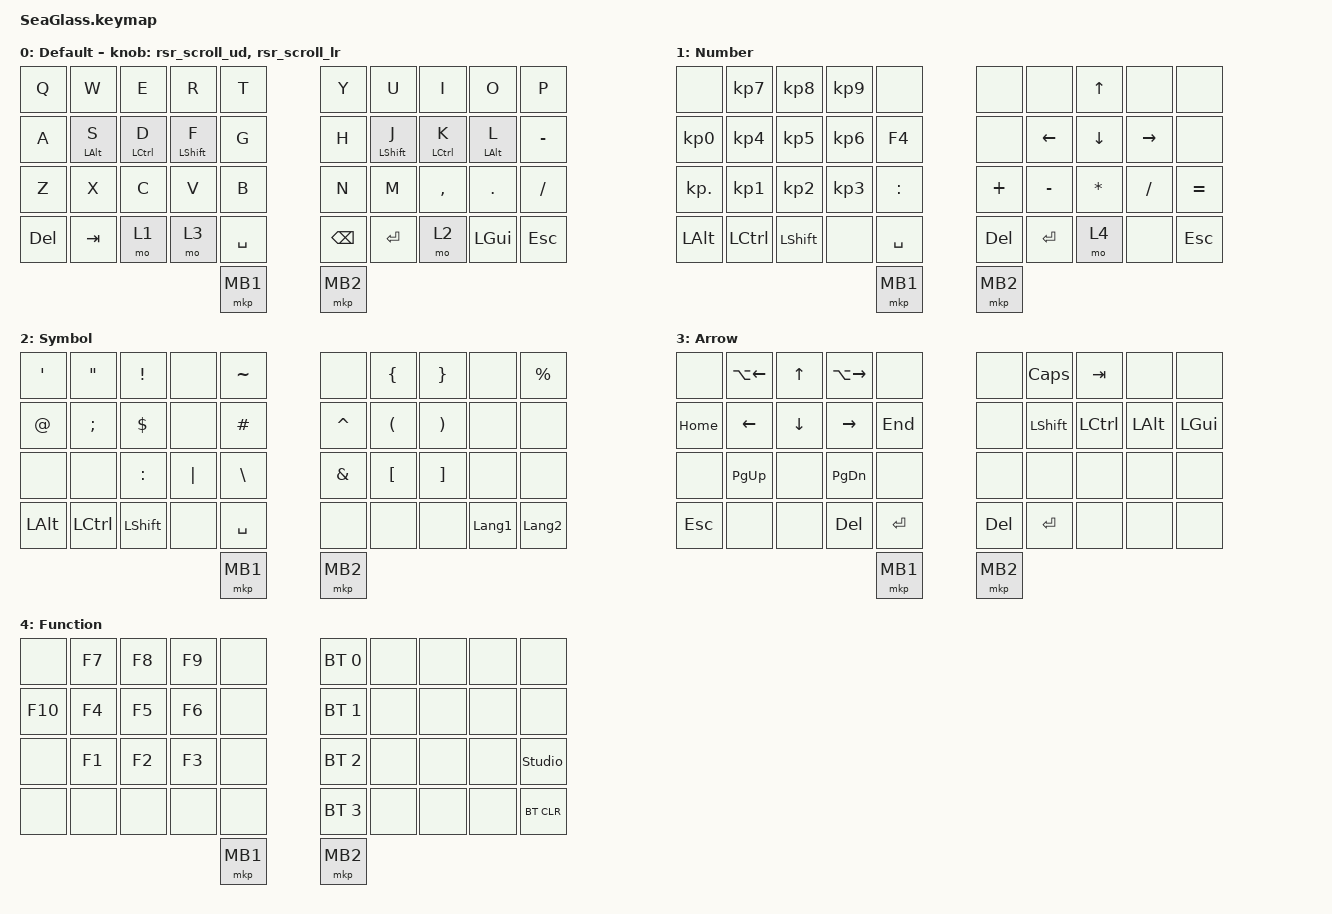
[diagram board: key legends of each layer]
#include <behaviors/runtime-sensor-rotate.dtsi>
#include <behaviors/runtime_macro.dtsi>
#include <behaviors.dtsi>
#include <dt-bindings/zmk/bt.h>
#include <dt-bindings/zmk/keys.h>
#include <dt-bindings/zmk/pointing.h>

#undef ZMK_POINTING_DEFAULT_SCRL_VAL

#define ZMK_POINTING_DEFAULT_SCRL_VAL 120

&mt {
    flavor = "balanced";
    quick-tap-ms = <175>;
    tapping-term-ms = <275>;
    require-prior-idle-ms = <150>;
    hold-trigger-on-release;
};

&lt {
    flavor = "balanced";
    quick-tap-ms = <175>;
    tapping-term-ms = <275>;
    require-prior-idle-ms = <150>;
    hold-trigger-on-release;
};

/ {
    runtime_combo_defaults {
        compatible = "cormoran,runtime-combo-defaults";

        middle-click {
            slot = <0>;
            bindings = <&mkp MB3>;
            key-positions = <40 41>;
            display-name = "Middle Click";
        };

        tab {
            slot = <1>;
            bindings = <&kp TAB>;
            key-positions = <10 11>;
            layers = <0>;
            display-name = "Tab";
        };

        backspace {
            slot = <2>;
            bindings = <&kp BACKSPACE>;
            key-positions = <8 9>;
            layers = <0>;
            display-name = "Backspace";
        };

        input_eisu {
            slot = <3>;
            bindings = <&kp LANG2>;
            key-positions = <34 24>;
            layers = <0>;
            display-name = "Eisu";
        };

        input_kana {
            slot = <4>;
            bindings = <&kp LANG1>;
            key-positions = <35 25>;
            layers = <0>;
            display-name = "Kana";
        };

        escape {
            slot = <5>;
            bindings = <&kp ESC>;
            key-positions = <1 0>;
            layers = <0>;
            display-name = "Escape";
        };
    };

    behaviors {
        rsr_scroll_ud: rsr_scroll_ud {
            compatible = "zmk,behavior-runtime-sensor-rotate";
            #sensor-binding-cells = <0>;
            tap-ms = <20>;
            cw-binding = <&msc SCRL_UP>;
            ccw-binding = <&msc SCRL_DOWN>;
        };

        rsr_scroll_lr: rsr_scroll_lr {
            compatible = "zmk,behavior-runtime-sensor-rotate";
            #sensor-binding-cells = <0>;
            tap-ms = <20>;
            cw-binding = <&msc SCRL_LEFT>;
            ccw-binding = <&msc SCRL_RIGHT>;
        };
    };

    combos {
        compatible = "zmk,combos";

        Kana {
            bindings = <&kp LANG1>;
            key-positions = <16 36>;
        };

        Eisu {
            bindings = <&kp LANG2>;
            key-positions = <13 33>;
        };

        Fix_arrow {
            bindings = <&to 3>;
            key-positions = <4 34>;
            layers = <0>;
        };

        Return_default {
            bindings = <&to 0>;
            key-positions = <4 34>;
            layers = <3 1>;
        };

        Fix_num {
            bindings = <&to 1>;
            key-positions = <5 35>;
            layers = <0>;
        };
    };

    keymap {
        compatible = "zmk,keymap";

        Default {
            bindings = <
&kp Q    &kp W           &kp E        &kp R             &kp T      &kp Y          &kp U             &kp I        &kp O           &kp P
&kp A    &mt LEFT_ALT S  &mt LCTRL D  &mt LEFT_SHIFT F  &kp G      &kp H          &mt LEFT_SHIFT J  &mt LCTRL K  &mt LEFT_ALT L  &kp MINUS
&kp Z    &kp X           &kp C        &kp V             &kp B      &kp N          &kp M             &kp COMMA    &kp PERIOD      &kp SLASH
&kp DEL  &kp TAB         &mo 1        &mo 3             &kp SPACE  &kp BACKSPACE  &kp ENTER         &mo 2        &kp LEFT_GUI    &kp ESCAPE
                                                                   &mkp MB1       &mkp MB2
            >;

            sensor-bindings = <&rsr_scroll_ud &rsr_scroll_lr>;
        };

        Number {
            bindings = <
&none            &kp KP_NUMBER_7  &kp KP_NUMBER_8  &kp KP_NUMBER_9  &none      &none     &none           &kp UP_ARROW    &none            &none
&kp KP_NUMBER_0  &kp KP_NUMBER_4  &kp KP_NUMBER_5  &kp KP_NUMBER_6  &kp F4     &none     &kp LEFT_ARROW  &kp DOWN_ARROW  &kp RIGHT_ARROW  &none
&kp KP_DOT       &kp KP_NUMBER_1  &kp KP_NUMBER_2  &kp KP_NUMBER_3  &kp COLON  &kp PLUS  &kp MINUS       &kp ASTERISK    &kp SLASH        &kp EQUAL
&kp LEFT_ALT     &kp LCTRL        &kp LEFT_SHIFT   &none            &kp SPACE  &kp DEL   &kp ENTER       &mo 4           &none            &kp ESC
                                                                               &mkp MB1  &mkp MB2
            >;
        };

        Symbol {
            bindings = <
&kp SQT       &kp DQT        &kp EXCLAMATION  &none     &kp TILDE      &none      &kp LBRC  &kp RBRC  &none           &kp PERCENT
&kp AT        &kp SEMICOLON  &kp DOLLAR       &none     &kp HASH       &kp CARET  &kp LPAR  &kp RPAR  &none           &none
&none         &none          &kp COLON        &kp PIPE  &kp BACKSLASH  &kp AMPS   &kp LBKT  &kp RBKT  &none           &none
&kp LEFT_ALT  &kp LCTRL      &kp LEFT_SHIFT   &none     &kp SPACE      &none      &none     &none     &kp LANGUAGE_1  &kp LANGUAGE_2
                                                                       &mkp MB1   &mkp MB2
            >;
        };

        Arrow {
            bindings = <
&none       &kp LA(LEFT_ARROW)  &kp UP_ARROW    &kp LA(RIGHT_ARROW)  &none      &none       &kp CAPS        &kp TAB    &none         &none
&kp HOME    &kp LEFT_ARROW      &kp DOWN_ARROW  &kp RIGHT_ARROW      &kp END    &none       &kp LEFT_SHIFT  &kp LCTRL  &kp LEFT_ALT  &kp LEFT_GUI
&none       &kp PAGE_UP         &none           &kp PAGE_DOWN        &none      &none       &none           &none      &none         &none
&kp ESCAPE  &none               &none           &kp DEL              &kp ENTER  &kp DELETE  &kp ENTER       &none      &none         &none
                                                                                &mkp MB1    &mkp MB2
            >;
        };

        Function {
            bindings = <
&none    &kp F7  &kp F8  &kp F9  &none  &bt BT_SEL 0  &none     &none  &none  &none
&kp F10  &kp F4  &kp F5  &kp F6  &none  &bt BT_SEL 1  &none     &none  &none  &none
&none    &kp F1  &kp F2  &kp F3  &none  &bt BT_SEL 2  &none     &none  &none  &studio_unlock
&none    &none   &none   &none   &none  &bt BT_SEL 3  &none     &none  &none  &bt BT_CLR
                                        &mkp MB1      &mkp MB2
            >;
        };
    };
};
